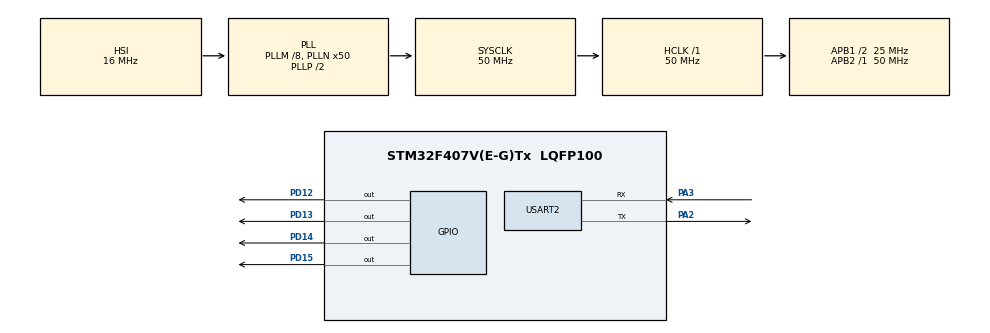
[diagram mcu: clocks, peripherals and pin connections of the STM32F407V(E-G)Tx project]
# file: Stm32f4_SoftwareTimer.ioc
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Mcu.Family=STM32F4
Mcu.Name=STM32F407V(E-G)Tx
Mcu.Package=LQFP100
NVIC.PriorityGroup=NVIC_PRIORITYGROUP_4
NVIC.TIM2_IRQn=true\:0\:0\:false\:false\:true\:true\:true
PA2.Mode=Asynchronous
PA2.Signal=USART2_TX
PA3.Mode=Asynchronous
PA3.Signal=USART2_RX
PD12.Signal=GPIO_Output
PD13.Signal=GPIO_Output
PD14.Signal=GPIO_Output
PD15.Signal=GPIO_Output
ProjectManager.HeapSize=0x200
ProjectManager.StackSize=0x400
ProjectManager.TargetToolchain=Makefile
RCC.48MHZClocksFreq_Value=25000000
RCC.AHBFreq_Value=50000000
RCC.APB1CLKDivider=RCC_HCLK_DIV2
RCC.APB1Freq_Value=25000000
RCC.APB1TimFreq_Value=50000000
RCC.APB2Freq_Value=50000000
RCC.APB2TimFreq_Value=50000000
RCC.CortexFreq_Value=50000000
RCC.HCLKFreq_Value=50000000
RCC.HSE_VALUE=25000000
RCC.HSI_VALUE=16000000
RCC.LSE_VALUE=32768
RCC.PLLM=8
RCC.PLLN=50
RCC.SYSCLKFreq_VALUE=50000000
RCC.SYSCLKSource=RCC_SYSCLKSOURCE_PLLCLK
RCC.VCOOutputFreq_Value=100000000
TIM2.Period=999
TIM2.Prescaler=49
USART2.VirtualMode=VM_ASYNC
VP_TIM2_VS_ClockSourceINT.Mode=Internal
board=custom

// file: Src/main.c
/* USER CODE BEGIN Header */
/**
  ******************************************************************************
  * @file           : main.c
  * @brief          : Main program body
  ******************************************************************************
  * @attention
  *
  * <h2><center>&copy; Copyright (c) 2021 STMicroelectronics.
  * All rights reserved.</center></h2>
  *
  * This software component is licensed by ST under BSD 3-Clause license,
  * the "License"; You may not use this file except in compliance with the
  * License. You may obtain a copy of the License at:
  *                        opensource.org/licenses/BSD-3-Clause
  *
  ******************************************************************************
  */
/* USER CODE END Header */

#include "main.h"

/* USER CODE BEGIN Includes */
#include "SoftwareTimer.h"
#include <string.h>
/* USER CODE END Includes */

TIM_HandleTypeDef htim2;

UART_HandleTypeDef huart2;

/* USER CODE BEGIN PV */
const char txMsg[]="Hello world from Software Timer app\r\n";
/* USER CODE END PV */

void SystemClock_Config(void);
static void MX_GPIO_Init(void);
static void MX_USART2_UART_Init(void);
static void MX_TIM2_Init(void);
/* USER CODE BEGIN PFP */
void led1_toogle_cb(void)
{
  HAL_GPIO_TogglePin(GPIOD,GPIO_PIN_12 );
}
void led2_toogle_cb(void)
{
  HAL_GPIO_TogglePin(GPIOD,GPIO_PIN_13);
}
void led3_toogle_cb(void)
{
  HAL_GPIO_TogglePin(GPIOD,GPIO_PIN_14 );
}
void led4_toogle_cb(void)
{
  HAL_GPIO_TogglePin(GPIOD,GPIO_PIN_15 );
}
void uart_print_cb()
{
  HAL_UART_Transmit(&huart2,txMsg,strlen(txMsg),200);
}

/* USER CODE END PFP */

int main(void)
{

  /* MCU Configuration--------------------------------------------------------*/

  /* Reset of all peripherals, Initializes the Flash interface and the Systick. */
  HAL_Init();

  /* USER CODE BEGIN Init */
  SoftwareTimer_t* timer1=SoftwareTimerCreate((uint8_t*)"Led Toogle 1",led1_toogle_cb,1000,PERIODIC_TIMER);
  SoftwareTimer_t* timer2=SoftwareTimerCreate((uint8_t*)"Led Toogle 2",led2_toogle_cb,2000,PERIODIC_TIMER);
  SoftwareTimer_t* timer3=SoftwareTimerCreate((uint8_t*)"Led Toogle 3",led3_toogle_cb,3000,PERIODIC_TIMER);
  SoftwareTimer_t* timer4=SoftwareTimerCreate((uint8_t*)"Led Toogle 4",led4_toogle_cb,4000,PERIODIC_TIMER);
  SoftwareTimer_t* timer5=SoftwareTimerCreate((uint8_t*)"Uart Print",uart_print_cb,500,PERIODIC_TIMER);

  /* USER CODE END Init */

  /* Configure the system clock */
  SystemClock_Config();

  /* Initialize all configured peripherals */
  MX_GPIO_Init();
  MX_USART2_UART_Init();
  MX_TIM2_Init();
  /* USER CODE BEGIN 2 */
  HAL_TIM_Base_Start_IT(&htim2);
  /* USER CODE END 2 */

  /* Infinite loop */
  while (1)
  {

    /* USER CODE BEGIN 3 */
    SoftwareTimerLoop();
    // HAL_Delay(1);
  }
  /* USER CODE END 3 */
}

void SystemClock_Config(void)
{
  RCC_OscInitTypeDef RCC_OscInitStruct = {0};
  RCC_ClkInitTypeDef RCC_ClkInitStruct = {0};

  /** Configure the main internal regulator output voltage
  */
  __HAL_RCC_PWR_CLK_ENABLE();
  __HAL_PWR_VOLTAGESCALING_CONFIG(PWR_REGULATOR_VOLTAGE_SCALE1);
  /** Initializes the CPU, AHB and APB busses clocks
  */
  RCC_OscInitStruct.OscillatorType = RCC_OSCILLATORTYPE_HSI;
  RCC_OscInitStruct.HSIState = RCC_HSI_ON;
  RCC_OscInitStruct.HSICalibrationValue = RCC_HSICALIBRATION_DEFAULT;
  RCC_OscInitStruct.PLL.PLLState = RCC_PLL_ON;
  RCC_OscInitStruct.PLL.PLLSource = RCC_PLLSOURCE_HSI;
  RCC_OscInitStruct.PLL.PLLM = 8;
  RCC_OscInitStruct.PLL.PLLN = 50;
  RCC_OscInitStruct.PLL.PLLP = RCC_PLLP_DIV2;
  RCC_OscInitStruct.PLL.PLLQ = 4;
  if (HAL_RCC_OscConfig(&RCC_OscInitStruct) != HAL_OK)
  {
    Error_Handler();
  }
  /** Initializes the CPU, AHB and APB busses clocks
  */
  RCC_ClkInitStruct.ClockType = RCC_CLOCKTYPE_HCLK|RCC_CLOCKTYPE_SYSCLK
                              |RCC_CLOCKTYPE_PCLK1|RCC_CLOCKTYPE_PCLK2;
  RCC_ClkInitStruct.SYSCLKSource = RCC_SYSCLKSOURCE_PLLCLK;
  RCC_ClkInitStruct.AHBCLKDivider = RCC_SYSCLK_DIV1;
  RCC_ClkInitStruct.APB1CLKDivider = RCC_HCLK_DIV2;
  RCC_ClkInitStruct.APB2CLKDivider = RCC_HCLK_DIV1;

  if (HAL_RCC_ClockConfig(&RCC_ClkInitStruct, FLASH_LATENCY_1) != HAL_OK)
  {
    Error_Handler();
  }
}

static void MX_TIM2_Init(void)
{

  TIM_ClockConfigTypeDef sClockSourceConfig = {0};
  TIM_MasterConfigTypeDef sMasterConfig = {0};

  htim2.Instance = TIM2;
  htim2.Init.Prescaler = 49;
  htim2.Init.CounterMode = TIM_COUNTERMODE_UP;
  htim2.Init.Period = 999;
  htim2.Init.ClockDivision = TIM_CLOCKDIVISION_DIV1;
  htim2.Init.AutoReloadPreload = TIM_AUTORELOAD_PRELOAD_DISABLE;
  if (HAL_TIM_Base_Init(&htim2) != HAL_OK)
  {
    Error_Handler();
  }
  sClockSourceConfig.ClockSource = TIM_CLOCKSOURCE_INTERNAL;
  if (HAL_TIM_ConfigClockSource(&htim2, &sClockSourceConfig) != HAL_OK)
  {
    Error_Handler();
  }
  sMasterConfig.MasterOutputTrigger = TIM_TRGO_RESET;
  sMasterConfig.MasterSlaveMode = TIM_MASTERSLAVEMODE_DISABLE;
  if (HAL_TIMEx_MasterConfigSynchronization(&htim2, &sMasterConfig) != HAL_OK)
  {
    Error_Handler();
  }

}

static void MX_USART2_UART_Init(void)
{

  huart2.Instance = USART2;
  huart2.Init.BaudRate = 115200;
  huart2.Init.WordLength = UART_WORDLENGTH_8B;
  huart2.Init.StopBits = UART_STOPBITS_1;
  huart2.Init.Parity = UART_PARITY_NONE;
  huart2.Init.Mode = UART_MODE_TX_RX;
  huart2.Init.HwFlowCtl = UART_HWCONTROL_NONE;
  huart2.Init.OverSampling = UART_OVERSAMPLING_16;
  if (HAL_UART_Init(&huart2) != HAL_OK)
  {
    Error_Handler();
  }

}

static void MX_GPIO_Init(void)
{
  GPIO_InitTypeDef GPIO_InitStruct = {0};

  /* GPIO Ports Clock Enable */
  __HAL_RCC_GPIOA_CLK_ENABLE();
  __HAL_RCC_GPIOD_CLK_ENABLE();

  /*Configure GPIO pin Output Level */
  HAL_GPIO_WritePin(GPIOD, GPIO_PIN_12|GPIO_PIN_13|GPIO_PIN_14|GPIO_PIN_15, GPIO_PIN_RESET);

  /*Configure GPIO pins : PD12 PD13 PD14 PD15 */
  GPIO_InitStruct.Pin = GPIO_PIN_12|GPIO_PIN_13|GPIO_PIN_14|GPIO_PIN_15;
  GPIO_InitStruct.Mode = GPIO_MODE_OUTPUT_PP;
  GPIO_InitStruct.Pull = GPIO_NOPULL;
  GPIO_InitStruct.Speed = GPIO_SPEED_FREQ_LOW;
  HAL_GPIO_Init(GPIOD, &GPIO_InitStruct);

}

/* USER CODE BEGIN 4 */
void HAL_TIM_PeriodElapsedCallback(TIM_HandleTypeDef *htim)
{
      SoftwareTimerTick(1);

}
/* USER CODE END 4 */

void Error_Handler(void)
{
}

/************************ (C) COPYRIGHT STMicroelectronics *****END OF FILE****/
